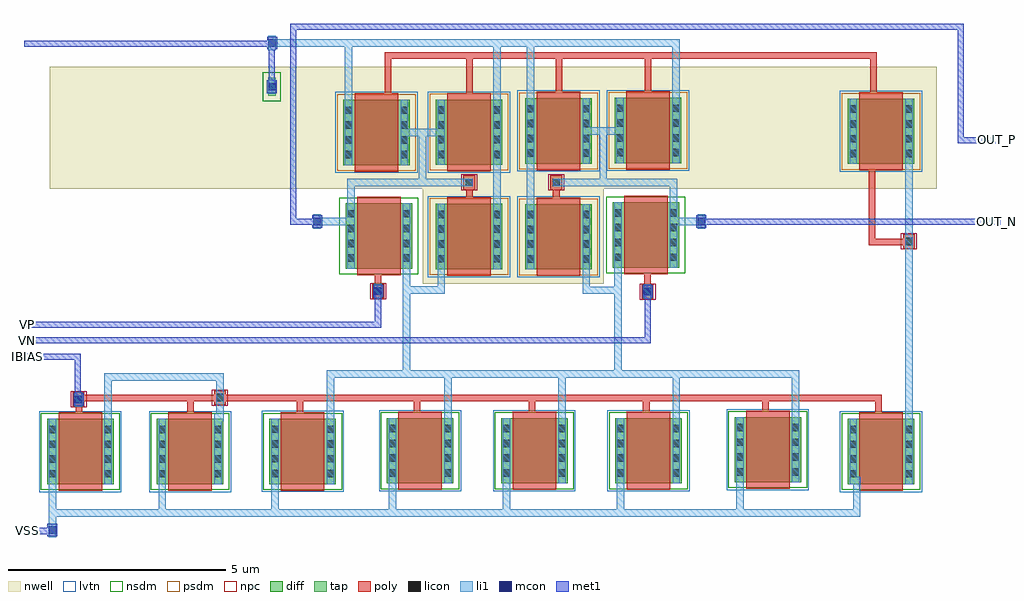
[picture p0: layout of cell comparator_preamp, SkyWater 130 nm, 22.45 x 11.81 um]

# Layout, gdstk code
from math import pi, radians
import gdstk
lib = gdstk.Library(unit=1e-6, precision=1e-09)
def R(c, l, rs):  # rectangles x0, y0, x1, y1
    for r in rs: c.add(gdstk.rectangle(r[:2], r[2:], *l))
def A(c, l, x, y, w, h, nx, ny, dx, dy):  # array of equal rectangles
    R(c, l, [(x+i*dx, y+j*dy, x+i*dx+w, y+j*dy+h) for i in range(nx) for j in range(ny)])
nwell = (64, 20)
diff = (65, 20)
tap = (65, 44)
poly = (66, 20)
licon = (66, 44)
li1 = (67, 20)
mcon = (67, 44)
met1 = (68, 20)
nsdm = (93, 44)
psdm = (94, 20)
npc = (95, 20)
lvtn = (125, 44)

nfet_01v8__5 = lib.new_cell('nfet_01v8$$5')
R(nfet_01v8__5, diff, [(-0.265,0,0,1.5), (0,0,1,1.5), (1,0,1.265,1.5)])
R(nfet_01v8__5, poly, [(0,-0.15,1,-0.095), (0,-0.095,1,0), (0,0,1,1.5), (0,1.5,1,1.595), (0,1.595,1,1.65)])
A(nfet_01v8__5, licon, -0.225, 0.155, 0.17, 0.17, 1, 4, 0, 0.34)
A(nfet_01v8__5, licon, 1.055, 0.155, 0.17, 0.17, 1, 4, 0, 0.34)
R(nfet_01v8__5, li1, [(-0.225,0,-0.055,1.5), (1.055,0,1.225,1.5)])
R(nfet_01v8__5, nsdm, [(-0.405,-0.13,1.405,1.63)])

pfet_01v8_lvt__6 = lib.new_cell('pfet_01v8_lvt$$6')
R(pfet_01v8_lvt__6, nwell, [(-0.445,-0.18,1.445,1.68)])
R(pfet_01v8_lvt__6, diff, [(-0.265,0,0,1.5), (0,0,1,1.5), (1,0,1.265,1.5)])
R(pfet_01v8_lvt__6, poly, [(0,-0.15,1,-0.095), (0,-0.095,1,0), (0,0,1,1.5), (0,1.5,1,1.595), (0,1.595,1,1.65)])
A(pfet_01v8_lvt__6, licon, -0.225, 0.155, 0.17, 0.17, 1, 4, 0, 0.34)
A(pfet_01v8_lvt__6, licon, 1.055, 0.155, 0.17, 0.17, 1, 4, 0, 0.34)
R(pfet_01v8_lvt__6, li1, [(-0.225,0,-0.055,1.5), (1.055,0,1.225,1.5)])
R(pfet_01v8_lvt__6, psdm, [(-0.405,-0.13,1.405,1.63)])
R(pfet_01v8_lvt__6, lvtn, [(-0.445,-0.18,1.445,1.68)])

nfet_01v8_lvt__7 = lib.new_cell('nfet_01v8_lvt$$7')
R(nfet_01v8_lvt__7, diff, [(-0.265,0,0,1.5), (0,0,1,1.5), (1,0,1.265,1.5)])
R(nfet_01v8_lvt__7, poly, [(0,-0.15,1,-0.095), (0,-0.095,1,0), (0,0,1,1.5), (0,1.5,1,1.595), (0,1.595,1,1.65)])
A(nfet_01v8_lvt__7, licon, -0.225, 0.155, 0.17, 0.17, 1, 4, 0, 0.34)
A(nfet_01v8_lvt__7, licon, 1.055, 0.155, 0.17, 0.17, 1, 4, 0, 0.34)
R(nfet_01v8_lvt__7, li1, [(-0.225,0,-0.055,1.5), (1.055,0,1.225,1.5)])
R(nfet_01v8_lvt__7, nsdm, [(-0.405,-0.13,1.405,1.63)])
R(nfet_01v8_lvt__7, lvtn, [(-0.445,-0.18,1.445,1.68)])

polyconn__1 = lib.new_cell('polyConn$$1')
R(polyconn__1, poly, [(-0.135,-0.165,0.135,0.165)])
R(polyconn__1, licon, [(-0.085,-0.085,0.085,0.085)])
R(polyconn__1, li1, [(-0.085,-0.165,0.085,0.165)])
R(polyconn__1, mcon, [(-0.085,-0.085,0.085,0.085)])
R(polyconn__1, met1, [(-0.115,-0.145,0.115,0.145)])
R(polyconn__1, npc, [(-0.185,-0.185,0.185,0.185)])

pyl1con_c__2 = lib.new_cell('PYL1CON_C$$2')
R(pyl1con_c__2, poly, [(-0.135,-0.165,0.135,0.165)])
R(pyl1con_c__2, licon, [(-0.085,-0.085,0.085,0.085)])
R(pyl1con_c__2, npc, [(-0.185,-0.185,0.185,0.185)])

l1m1_c__3 = lib.new_cell('L1M1_C$$3')
R(l1m1_c__3, li1, [(-0.085,-0.165,0.085,0.165)])
R(l1m1_c__3, mcon, [(-0.085,-0.085,0.085,0.085)])
R(l1m1_c__3, met1, [(-0.115,-0.145,0.115,0.145)])

nwelltap__4 = lib.new_cell('nwellTap$$4')
R(nwelltap__4, nwell, [(-0.265,-0.385,0.265,0.385)])
R(nwelltap__4, tap, [(-0.085,-0.205,0.085,0.205)])
R(nwelltap__4, licon, [(-0.085,-0.085,0.085,0.085)])
R(nwelltap__4, li1, [(-0.085,-0.165,0.085,0.165)])
R(nwelltap__4, mcon, [(-0.085,-0.085,0.085,0.085)])
R(nwelltap__4, met1, [(-0.115,-0.145,0.115,0.145)])
R(nwelltap__4, nsdm, [(-0.21,-0.33,0.21,0.33)])

comparator_preamp = lib.new_cell('comparator_preamp')
R(comparator_preamp, nwell, [(9.165,5.9,13.335,8.12), (0.595,8.09,20.995,10.9)])
R(comparator_preamp, met1, [(0,0.15,0.14,0.29), (0,4.16,0.14,4.3), (0,4.54,0.14,4.68), (0,4.89,0.14,5.03), (22.305,7.265,22.445,7.405), (22.305,9.145,22.445,9.285), (0,11.35,0.14,11.49)])
comparator_preamp.add(gdstk.FlexPath([(5.705,11.445),(7.465,11.445)], 0.17, ends="extended", simple_path=True, layer=67, datatype=20))  # li1
comparator_preamp.add(gdstk.FlexPath([(7.52,7.755),(7.52,8.235)], 0.17, ends=(0, 0.085), simple_path=True, layer=67, datatype=20))  # li1
comparator_preamp.add(gdstk.FlexPath([(8.83,9.385),(9.16,9.385)], 0.17, ends=(0, 0.085), simple_path=True, layer=67, datatype=20))  # li1
comparator_preamp.add(gdstk.FlexPath([(13.32,9.42),(13.625,9.42)], 0.17, ends=(0.085, 0), simple_path=True, layer=67, datatype=20))  # li1
comparator_preamp.add(gdstk.FlexPath([(9.16,8.235),(9.16,9.385)], 0.17, ends="extended", simple_path=True, layer=67, datatype=20))  # li1
comparator_preamp.add(gdstk.FlexPath([(10.875,7.74),(10.875,8.64)], 0.17, ends="flush", simple_path=True, layer=67, datatype=20))  # li1
comparator_preamp.add(gdstk.FlexPath([(11.65,7.735),(11.65,8.67)], 0.17, ends="flush", simple_path=True, layer=67, datatype=20))  # li1
comparator_preamp.add(gdstk.FlexPath([(10.875,10.14),(10.875,11.445)], 0.17, ends=(0, 0.085), simple_path=True, layer=67, datatype=20))  # li1
comparator_preamp.add(gdstk.FlexPath([(14.995,11.445),(14.995,10.095)], 0.17, ends="extended", simple_path=True, layer=67, datatype=20))  # li1
comparator_preamp.add(gdstk.FlexPath([(14.995,10.095),(15.075,10.095)], 0.17, ends=(0.085, 0), simple_path=True, layer=67, datatype=20))  # li1
comparator_preamp.add(gdstk.FlexPath([(11.65,10.17),(11.65,11.445)], 0.17, ends=(0, 0.085), simple_path=True, layer=67, datatype=20))  # li1
comparator_preamp.add(gdstk.FlexPath([(10.875,11.445),(11.65,11.445)], 0.17, ends="extended", simple_path=True, layer=67, datatype=20))  # li1
comparator_preamp.add(gdstk.FlexPath([(13.66,6.275),(13.66,5.755)], 0.17, ends=(0, 0.085), simple_path=True, layer=67, datatype=20))  # li1
comparator_preamp.add(gdstk.FlexPath([(8.8,6.255),(8.8,5.765)], 0.17, ends=(0, 0.085), simple_path=True, layer=67, datatype=20))  # li1
comparator_preamp.add(gdstk.FlexPath([(14.935,7.7),(15.025,7.7)], 0.17, ends=(0.085, 0), simple_path=True, layer=67, datatype=20))  # li1
comparator_preamp.add(gdstk.FlexPath([(12.93,5.755),(13.66,5.755)], 0.17, ends="extended", simple_path=True, layer=67, datatype=20))  # li1
comparator_preamp.add(gdstk.FlexPath([(12.93,6.235),(12.93,5.755)], 0.17, ends=(0, 0.085), simple_path=True, layer=67, datatype=20))  # li1
comparator_preamp.add(gdstk.FlexPath([(0.655,0.24),(0.655,0.63)], 0.17, ends=(0, 0.085), simple_path=True, layer=67, datatype=20))  # li1
comparator_preamp.add(gdstk.FlexPath([(6.74,7.335),(7.435,7.335)], 0.17, ends=(0.085, 0), simple_path=True, layer=67, datatype=20))  # li1
comparator_preamp.add(gdstk.FlexPath([(13.32,8.235),(14.935,8.235)], 0.17, ends="extended", simple_path=True, layer=67, datatype=20))  # li1
comparator_preamp.add(gdstk.FlexPath([(15.58,7.335),(15.025,7.335)], 0.17, ends="flush", simple_path=True, layer=67, datatype=20))  # li1
comparator_preamp.add(gdstk.FlexPath([(7.465,10.135),(7.465,11.445)], 0.17, ends=(0, 0.085), simple_path=True, layer=67, datatype=20))  # li1
comparator_preamp.add(gdstk.FlexPath([(11.65,11.445),(14.995,11.445)], 0.17, ends="extended", simple_path=True, layer=67, datatype=20))  # li1
comparator_preamp.add(gdstk.FlexPath([(9.16,9.385),(9.515,9.385)], 0.17, ends=(0.085, 0), simple_path=True, layer=67, datatype=20))  # li1
comparator_preamp.add(gdstk.FlexPath([(9.16,8.235),(10.325,8.235)], 0.17, ends=(0.085, 0), simple_path=True, layer=67, datatype=20))  # li1
comparator_preamp.add(gdstk.FlexPath([(5.705,11.42),(5.705,11.445)], 0.17, ends=(0, 0.085), simple_path=True, layer=67, datatype=20))  # li1
comparator_preamp.add(gdstk.FlexPath([(6.74,7.375),(6.74,7.335)], 0.17, ends=(0, 0.085), simple_path=True, layer=67, datatype=20))  # li1
comparator_preamp.add(gdstk.FlexPath([(7.465,11.445),(10.875,11.445)], 0.17, ends="extended", simple_path=True, layer=67, datatype=20))  # li1
comparator_preamp.add(gdstk.FlexPath([(8.8,5.765),(8.8,3.83)], 0.17, ends="extended", simple_path=True, layer=67, datatype=20))  # li1
comparator_preamp.add(gdstk.FlexPath([(7.05,3.83),(8.8,3.83)], 0.17, ends="extended", simple_path=True, layer=67, datatype=20))  # li1
comparator_preamp.add(gdstk.FlexPath([(9.595,6.24),(9.595,5.765)], 0.17, ends=(0, 0.085), simple_path=True, layer=67, datatype=20))  # li1
comparator_preamp.add(gdstk.FlexPath([(7.52,8.235),(9.16,8.235)], 0.17, ends="extended", simple_path=True, layer=67, datatype=20))  # li1
comparator_preamp.add(gdstk.FlexPath([(9.82,3.83),(9.75,3.83)], 0.17, ends="extended", simple_path=True, layer=67, datatype=20))  # li1
comparator_preamp.add(gdstk.FlexPath([(13.66,5.755),(13.66,3.83)], 0.17, ends="extended", simple_path=True, layer=67, datatype=20))  # li1
comparator_preamp.add(gdstk.FlexPath([(13.32,8.235),(13.32,9.42)], 0.17, ends="extended", simple_path=True, layer=67, datatype=20))  # li1
comparator_preamp.add(gdstk.FlexPath([(14.935,8.235),(14.935,7.7)], 0.17, ends="extended", simple_path=True, layer=67, datatype=20))  # li1
comparator_preamp.add(gdstk.FlexPath([(13.66,3.83),(15,3.83)], 0.17, ends="extended", simple_path=True, layer=67, datatype=20))  # li1
comparator_preamp.add(gdstk.FlexPath([(9.82,3.83),(12.375,3.83)], 0.17, ends="extended", simple_path=True, layer=67, datatype=20))  # li1
comparator_preamp.add(gdstk.FlexPath([(12.375,2.815),(12.375,3.83)], 0.17, ends=(0, 0.085), simple_path=True, layer=67, datatype=20))  # li1
comparator_preamp.add(gdstk.FlexPath([(17.745,3.83),(17.745,2.755)], 0.17, ends="extended", simple_path=True, layer=67, datatype=20))  # li1
comparator_preamp.add(gdstk.FlexPath([(8.8,3.83),(9.75,3.83)], 0.17, ends="extended", simple_path=True, layer=67, datatype=20))  # li1
comparator_preamp.add(gdstk.FlexPath([(9.75,2.815),(9.75,3.83)], 0.17, ends=(0, 0.085), simple_path=True, layer=67, datatype=20))  # li1
comparator_preamp.add(gdstk.FlexPath([(7.05,2.8),(7.05,3.83)], 0.17, ends=(0, 0.085), simple_path=True, layer=67, datatype=20))  # li1
comparator_preamp.add(gdstk.FlexPath([(15,2.815),(15,3.83)], 0.17, ends=(0, 0.085), simple_path=True, layer=67, datatype=20))  # li1
comparator_preamp.add(gdstk.FlexPath([(17.745,2.755),(17.83,2.755)], 0.17, ends=(0.085, 0), simple_path=True, layer=67, datatype=20))  # li1
comparator_preamp.add(gdstk.FlexPath([(15,3.83),(17.745,3.83)], 0.17, ends="extended", simple_path=True, layer=67, datatype=20))  # li1
comparator_preamp.add(gdstk.FlexPath([(20.35,2.795),(20.35,8.66)], 0.17, ends="flush", simple_path=True, layer=67, datatype=20))  # li1
comparator_preamp.add(gdstk.FlexPath([(13.72,0.63),(16.465,0.63)], 0.17, ends="extended", simple_path=True, layer=67, datatype=20))  # li1
comparator_preamp.add(gdstk.FlexPath([(16.465,1.34),(16.465,0.63)], 0.17, ends=(0, 0.085), simple_path=True, layer=67, datatype=20))  # li1
comparator_preamp.add(gdstk.FlexPath([(11.095,0.63),(13.72,0.63)], 0.17, ends="extended", simple_path=True, layer=67, datatype=20))  # li1
comparator_preamp.add(gdstk.FlexPath([(13.72,1.315),(13.72,0.63)], 0.17, ends=(0, 0.085), simple_path=True, layer=67, datatype=20))  # li1
comparator_preamp.add(gdstk.FlexPath([(8.47,0.63),(11.095,0.63)], 0.17, ends="extended", simple_path=True, layer=67, datatype=20))  # li1
comparator_preamp.add(gdstk.FlexPath([(11.095,1.315),(11.095,0.63)], 0.17, ends=(0, 0.085), simple_path=True, layer=67, datatype=20))  # li1
comparator_preamp.add(gdstk.FlexPath([(5.77,0.63),(8.47,0.63)], 0.17, ends="extended", simple_path=True, layer=67, datatype=20))  # li1
comparator_preamp.add(gdstk.FlexPath([(8.47,1.315),(8.47,0.63)], 0.17, ends=(0, 0.085), simple_path=True, layer=67, datatype=20))  # li1
comparator_preamp.add(gdstk.FlexPath([(3.18,0.63),(5.77,0.63)], 0.17, ends="extended", simple_path=True, layer=67, datatype=20))  # li1
comparator_preamp.add(gdstk.FlexPath([(5.77,1.3),(5.77,0.63)], 0.17, ends=(0, 0.085), simple_path=True, layer=67, datatype=20))  # li1
comparator_preamp.add(gdstk.FlexPath([(0.655,0.63),(3.18,0.63)], 0.17, ends="extended", simple_path=True, layer=67, datatype=20))  # li1
comparator_preamp.add(gdstk.FlexPath([(3.18,1.295),(3.18,0.63)], 0.17, ends=(0, 0.085), simple_path=True, layer=67, datatype=20))  # li1
comparator_preamp.add(gdstk.FlexPath([(19.15,1.38),(18.985,1.38)], 0.17, ends=(0.085, 0), simple_path=True, layer=67, datatype=20))  # li1
comparator_preamp.add(gdstk.FlexPath([(19.15,0.63),(19.15,1.38)], 0.17, ends="extended", simple_path=True, layer=67, datatype=20))  # li1
comparator_preamp.add(gdstk.FlexPath([(16.465,0.63),(19.15,0.63)], 0.17, ends="extended", simple_path=True, layer=67, datatype=20))  # li1
comparator_preamp.add(gdstk.FlexPath([(0.655,1.295),(0.655,0.63)], 0.17, ends=(0, 0.085), simple_path=True, layer=67, datatype=20))  # li1
comparator_preamp.add(gdstk.FlexPath([(4.46,2.825),(4.46,2.795)], 0.17, ends=(0.085, 0), simple_path=True, layer=67, datatype=20))  # li1
comparator_preamp.add(gdstk.FlexPath([(4.505,2.825),(4.46,2.825)], 0.17, ends="extended", simple_path=True, layer=67, datatype=20))  # li1
comparator_preamp.add(gdstk.FlexPath([(4.505,3.76),(4.505,2.825)], 0.17, ends="extended", simple_path=True, layer=67, datatype=20))  # li1
comparator_preamp.add(gdstk.FlexPath([(1.935,3.76),(4.505,3.76)], 0.17, ends="extended", simple_path=True, layer=67, datatype=20))  # li1
comparator_preamp.add(gdstk.FlexPath([(1.935,2.795),(1.935,3.76)], 0.17, ends=(0, 0.085), simple_path=True, layer=67, datatype=20))  # li1
comparator_preamp.add(gdstk.FlexPath([(12.17,8.235),(13.32,8.235)], 0.17, ends=(0, 0.085), simple_path=True, layer=67, datatype=20))  # li1
comparator_preamp.add(gdstk.FlexPath([(13.015,9.42),(13.32,9.42)], 0.17, ends=(0, 0.085), simple_path=True, layer=67, datatype=20))  # li1
comparator_preamp.add(gdstk.FlexPath([(12.375,3.83),(13.66,3.83)], 0.17, ends="extended", simple_path=True, layer=67, datatype=20))  # li1
comparator_preamp.add(gdstk.FlexPath([(9.595,5.765),(8.8,5.765)], 0.17, ends="extended", simple_path=True, layer=67, datatype=20))  # li1
comparator_preamp.add(gdstk.FlexPath([(10.24,7.705),(10.24,8.215)], 0.15, ends="flush", simple_path=True, layer=66, datatype=20))  # poly
comparator_preamp.add(gdstk.FlexPath([(14.31,3.205),(14.31,2.65)], 0.15, ends=(0.075, 0), simple_path=True, layer=66, datatype=20))  # poly
comparator_preamp.add(gdstk.FlexPath([(8.37,10.285),(8.37,11.155)], 0.15, ends=(0, 0.075), simple_path=True, layer=66, datatype=20))  # poly
comparator_preamp.add(gdstk.FlexPath([(8.145,5.735),(8.145,6.245)], 0.15, ends="flush", simple_path=True, layer=66, datatype=20))  # poly
comparator_preamp.add(gdstk.FlexPath([(14.34,6.39),(14.34,5.725)], 0.15, ends="flush", simple_path=True, layer=66, datatype=20))  # poly
comparator_preamp.add(gdstk.FlexPath([(19.5,6.86),(20.28,6.86)], 0.15, ends=(0.075, 0), simple_path=True, layer=66, datatype=20))  # poly
comparator_preamp.add(gdstk.FlexPath([(19.5,8.51),(19.5,6.86)], 0.15, ends=(0, 0.075), simple_path=True, layer=66, datatype=20))  # poly
comparator_preamp.add(gdstk.FlexPath([(14.35,11.155),(19.54,11.155)], 0.15, ends="extended", simple_path=True, layer=66, datatype=20))  # poly
comparator_preamp.add(gdstk.FlexPath([(19.54,11.155),(19.54,10.08)], 0.15, ends=(0.075, 0), simple_path=True, layer=66, datatype=20))  # poly
comparator_preamp.add(gdstk.FlexPath([(8.37,11.155),(10.24,11.155)], 0.15, ends="extended", simple_path=True, layer=66, datatype=20))  # poly
comparator_preamp.add(gdstk.FlexPath([(10.24,10.29),(10.24,11.155)], 0.15, ends=(0, 0.075), simple_path=True, layer=66, datatype=20))  # poly
comparator_preamp.add(gdstk.FlexPath([(12.3,11.155),(14.35,11.155)], 0.15, ends="extended", simple_path=True, layer=66, datatype=20))  # poly
comparator_preamp.add(gdstk.FlexPath([(12.24,7.63),(12.24,8.2)], 0.15, ends="flush", simple_path=True, layer=66, datatype=20))  # poly
comparator_preamp.add(gdstk.FlexPath([(12.3,10.32),(12.3,11.155)], 0.15, ends=(0, 0.075), simple_path=True, layer=66, datatype=20))  # poly
comparator_preamp.add(gdstk.FlexPath([(10.24,11.155),(12.3,11.155)], 0.15, ends="extended", simple_path=True, layer=66, datatype=20))  # poly
comparator_preamp.add(gdstk.FlexPath([(14.35,10.33),(14.35,11.155)], 0.15, ends=(0, 0.075), simple_path=True, layer=66, datatype=20))  # poly
comparator_preamp.add(gdstk.FlexPath([(6.345,3.205),(6.345,2.825)], 0.15, ends=(0.075, 0), simple_path=True, layer=66, datatype=20))  # poly
comparator_preamp.add(gdstk.FlexPath([(6.345,3.28),(9.035,3.28)], 0.15, ends="extended", simple_path=True, layer=66, datatype=20))  # poly
comparator_preamp.add(gdstk.FlexPath([(9.035,3.205),(9.035,2.89)], 0.15, ends=(0.075, 0), simple_path=True, layer=66, datatype=20))  # poly
comparator_preamp.add(gdstk.FlexPath([(9.035,3.28),(11.68,3.28)], 0.15, ends="extended", simple_path=True, layer=66, datatype=20))  # poly
comparator_preamp.add(gdstk.FlexPath([(11.68,3.205),(11.68,2.89)], 0.15, ends=(0.075, 0), simple_path=True, layer=66, datatype=20))  # poly
comparator_preamp.add(gdstk.FlexPath([(11.68,3.28),(14.31,3.28)], 0.15, ends="extended", simple_path=True, layer=66, datatype=20))  # poly
comparator_preamp.add(gdstk.FlexPath([(14.31,3.28),(17.055,3.28)], 0.15, ends="extended", simple_path=True, layer=66, datatype=20))  # poly
comparator_preamp.add(gdstk.FlexPath([(17.055,3.205),(17.055,2.915)], 0.15, ends=(0.075, 0), simple_path=True, layer=66, datatype=20))  # poly
comparator_preamp.add(gdstk.FlexPath([(17.055,3.28),(19.65,3.28)], 0.15, ends="extended", simple_path=True, layer=66, datatype=20))  # poly
comparator_preamp.add(gdstk.FlexPath([(19.65,3.28),(19.65,2.945)], 0.15, ends=(0.075, 0), simple_path=True, layer=66, datatype=20))  # poly
comparator_preamp.add(gdstk.FlexPath([(3.825,3.28),(6.345,3.28)], 0.15, ends="extended", simple_path=True, layer=66, datatype=20))  # poly
comparator_preamp.add(gdstk.FlexPath([(3.825,3.205),(3.825,2.87)], 0.15, ends=(0.075, 0), simple_path=True, layer=66, datatype=20))  # poly
comparator_preamp.add(gdstk.FlexPath([(1.26,3.28),(3.825,3.28)], 0.15, ends="extended", simple_path=True, layer=66, datatype=20))  # poly
comparator_preamp.add(gdstk.FlexPath([(1.26,2.945),(1.26,3.28)], 0.15, ends=(0, 0.075), simple_path=True, layer=66, datatype=20))  # poly
comparator_preamp.add(gdstk.FlexPath([(21.54,9.21),(21.54,11.815)], 0.14, ends="extended", simple_path=True, layer=68, datatype=20))  # met1
comparator_preamp.add(gdstk.FlexPath([(21.54,11.815),(6.195,11.815)], 0.14, ends="extended", simple_path=True, layer=68, datatype=20))  # met1
comparator_preamp.add(gdstk.FlexPath([(6.195,11.815),(6.195,7.335)], 0.14, ends="extended", simple_path=True, layer=68, datatype=20))  # met1
comparator_preamp.add(gdstk.FlexPath([(0.14,4.96),(8.14,4.96)], 0.14, ends=(0, 0.07), simple_path=True, layer=68, datatype=20))  # met1
comparator_preamp.add(gdstk.FlexPath([(8.14,4.96),(8.14,5.735)], 0.14, ends="extended", simple_path=True, layer=68, datatype=20))  # met1
comparator_preamp.add(gdstk.FlexPath([(8.14,5.735),(8.145,5.735)], 0.14, ends=(0.07, 0), simple_path=True, layer=68, datatype=20))  # met1
comparator_preamp.add(gdstk.FlexPath([(0.14,0.22),(0.655,0.22)], 0.14, ends=(0, 0.07), simple_path=True, layer=68, datatype=20))  # met1
comparator_preamp.add(gdstk.FlexPath([(0.655,0.22),(0.655,0.24)], 0.14, ends=(0.07, 0), simple_path=True, layer=68, datatype=20))  # met1
comparator_preamp.add(gdstk.FlexPath([(6.195,7.335),(6.74,7.335)], 0.14, ends=(0.07, 0), simple_path=True, layer=68, datatype=20))  # met1
comparator_preamp.add(gdstk.FlexPath([(22.445,9.21),(21.54,9.21)], 0.14, ends=(0, 0.07), simple_path=True, layer=68, datatype=20))  # met1
comparator_preamp.add(gdstk.FlexPath([(0.14,11.42),(5.7,11.42)], 0.14, ends=(0, 0.07), simple_path=True, layer=68, datatype=20))  # met1
comparator_preamp.add(gdstk.FlexPath([(22.305,7.335),(15.58,7.335)], 0.14, ends="flush", simple_path=True, layer=68, datatype=20))  # met1
comparator_preamp.add(gdstk.FlexPath([(5.7,11.42),(5.705,11.42)], 0.14, ends="extended", simple_path=True, layer=68, datatype=20))  # met1
comparator_preamp.add(gdstk.FlexPath([(5.7,10.435),(5.7,11.42)], 0.14, ends=(0, 0.07), simple_path=True, layer=68, datatype=20))  # met1
comparator_preamp.add(gdstk.FlexPath([(14.34,4.61),(0.14,4.61)], 0.14, ends=(0.07, 0), simple_path=True, layer=68, datatype=20))  # met1
comparator_preamp.add(gdstk.FlexPath([(14.34,5.725),(14.34,4.61)], 0.14, ends=(0, 0.07), simple_path=True, layer=68, datatype=20))  # met1
comparator_preamp.add(gdstk.FlexPath([(1.24,3.2),(1.27,3.2)], 0.14, ends=(0.07, 0), simple_path=True, layer=68, datatype=20))  # met1
comparator_preamp.add(gdstk.FlexPath([(1.24,4.23),(1.24,3.2)], 0.14, ends="extended", simple_path=True, layer=68, datatype=20))  # met1
comparator_preamp.add(gdstk.FlexPath([(0.07,4.23),(1.24,4.23)], 0.14, ends=(0, 0.07), simple_path=True, layer=68, datatype=20))  # met1
comparator_preamp.add(gdstk.FlexPath([(5.705,11.42),(5.705,11.32)], 0.14, ends=(0.07, 0), simple_path=True, layer=68, datatype=20))  # met1
comparator_preamp.add(gdstk.Reference(nfet_01v8__5, (13.8,6.275)))
comparator_preamp.add(gdstk.Reference(nfet_01v8__5, (8.66,6.255), rotation=pi, x_reflection=True))
comparator_preamp.add(gdstk.Reference(pfet_01v8_lvt__6, (7.605,8.635)))
comparator_preamp.add(gdstk.Reference(pfet_01v8_lvt__6, (10.735,8.64), rotation=pi, x_reflection=True))
comparator_preamp.add(gdstk.Reference(pfet_01v8_lvt__6, (14.85,8.68), rotation=pi, x_reflection=True))
comparator_preamp.add(gdstk.Reference(pfet_01v8_lvt__6, (11.79,8.67)))
comparator_preamp.add(gdstk.Reference(pfet_01v8_lvt__6, (19.21,8.66)))
comparator_preamp.add(gdstk.Reference(pfet_01v8_lvt__6, (11.79,6.235)))
comparator_preamp.add(gdstk.Reference(pfet_01v8_lvt__6, (10.735,6.24), rotation=pi, x_reflection=True))
comparator_preamp.add(gdstk.Reference(nfet_01v8_lvt__7, (3.32,1.295)))
comparator_preamp.add(gdstk.Reference(nfet_01v8_lvt__7, (0.795,1.295)))
comparator_preamp.add(gdstk.Reference(nfet_01v8_lvt__7, (13.86,1.315)))
comparator_preamp.add(gdstk.Reference(nfet_01v8_lvt__7, (8.61,1.315)))
comparator_preamp.add(gdstk.Reference(nfet_01v8_lvt__7, (16.605,1.34)))
comparator_preamp.add(gdstk.Reference(nfet_01v8_lvt__7, (11.235,1.315)))
comparator_preamp.add(gdstk.Reference(nfet_01v8_lvt__7, (5.91,1.3)))
comparator_preamp.add(gdstk.Reference(nfet_01v8_lvt__7, (19.21,1.295)))
comparator_preamp.add(gdstk.Reference(polyconn__1, (8.145,5.735)))
comparator_preamp.add(gdstk.Reference(polyconn__1, (14.34,5.725), rotation=pi))
comparator_preamp.add(gdstk.Reference(polyconn__1, (1.255,3.245)))
comparator_preamp.add(gdstk.Reference(pyl1con_c__2, (10.24,8.235)))
comparator_preamp.add(gdstk.Reference(pyl1con_c__2, (12.24,8.235)))
comparator_preamp.add(gdstk.Reference(pyl1con_c__2, (20.35,6.88)))
comparator_preamp.add(gdstk.Reference(pyl1con_c__2, (4.505,3.285)))
comparator_preamp.add(gdstk.Reference(l1m1_c__3, (5.705,11.445)))
comparator_preamp.add(gdstk.Reference(l1m1_c__3, (0.655,0.24)))
comparator_preamp.add(gdstk.Reference(l1m1_c__3, (6.74,7.335)))
comparator_preamp.add(gdstk.Reference(l1m1_c__3, (15.58,7.335)))
comparator_preamp.add(gdstk.Reference(nwelltap__4, (5.7,10.435)))
comparator_preamp.add(gdstk.Label('OUT_P', (22.375,9.215), layer=19, texttype=44))
comparator_preamp.add(gdstk.Label('VSS', (0.07,0.22), layer=19, texttype=44))
comparator_preamp.add(gdstk.Label('OUT_N', (22.375,7.335), layer=19, texttype=44))
comparator_preamp.add(gdstk.Label('VP', (0.07,4.96), layer=19, texttype=44))
comparator_preamp.add(gdstk.Label('VN', (0.07,4.61), layer=19, texttype=44))
comparator_preamp.add(gdstk.Label('IBIAS', (0.07,4.23), layer=19, texttype=44))

lib.write_gds('comparator_preamp.gds')
